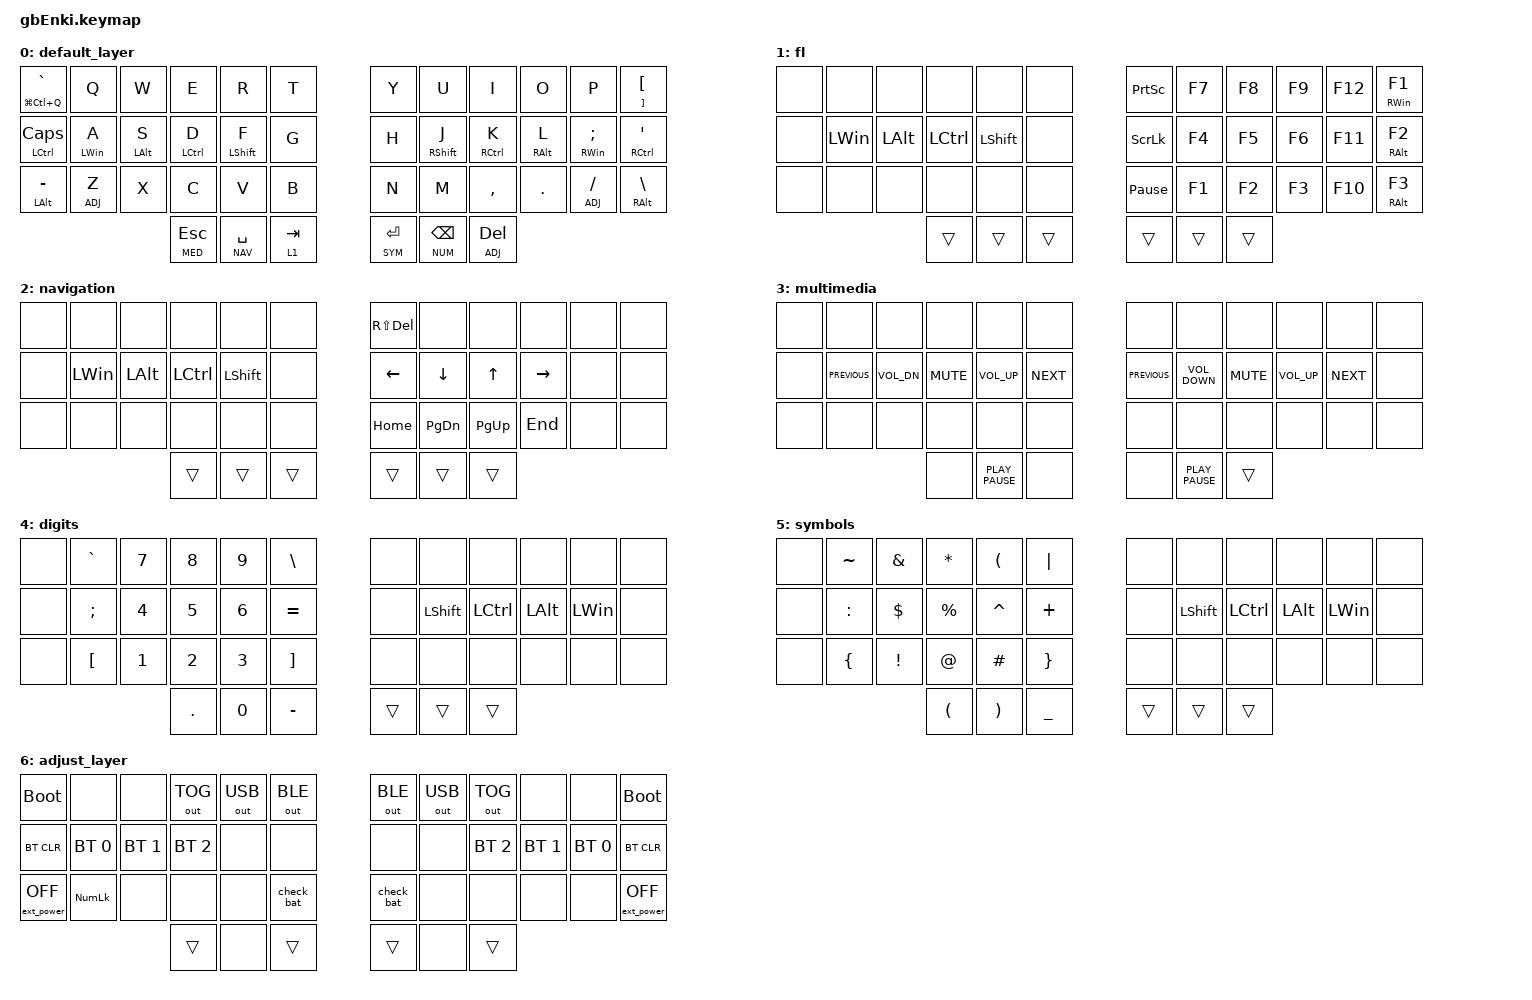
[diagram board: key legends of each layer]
/*
 * Copyright (c) 2020 The ZMK Contributors
 *
 * SPDX-License-Identifier: MIT
 */

#include <behaviors.dtsi>
#include <dt-bindings/zmk/bt.h>
#include <dt-bindings/zmk/ext_power.h>
#include <dt-bindings/zmk/keys.h>
#include <dt-bindings/zmk/outputs.h>

#define DEF 0
#define FL   1
#define NAV 2
#define MED 3
#define NUM 4
#define SYM 5
#define ADJ 6

&lt { quick_tap_ms = <220>; };

&mt {
    quick_tap_ms = <200>;
    tapping-term-ms = <300>;
    flavor = "tap-preferred";
};

/ {
    macros {
        numdot: numdot {
            label = "ZM_numdot";
            compatible = "zmk,behavior-macro";
            #binding-cells = <0>;
            wait-ms = <40>;
            tap-ms = <40>;
            bindings =
                <&macro_press>,
                <&kp LALT>,
                <&macro_tap>,
                <&kp KP_N4 &kp KP_N6>,
                <&macro_release>,
                <&kp LALT>;
        };

        grtsgn: grtsgn {
            label = "ZM_grtsgn";
            compatible = "zmk,behavior-macro";
            #binding-cells = <0>;
            wait-ms = <40>;
            tap-ms = <40>;
            bindings =
                <&macro_press>,
                <&kp LALT>,
                <&macro_tap>,
                <&kp KP_N6 &kp KP_N2>,
                <&macro_release>,
                <&kp LALT>;
        };
    };
};

/ {
    keymap {
        compatible = "zmk,keymap";

        default_layer {
            // ------------------------------------------------------------------------------------------------
            //| LGUI/] |  Q  |  W  |  E  |  R  |  T  |   |  Y  |  U   |  I  |  O  |  P  | RGUI/[ |
            //| CTRL/` |  A  |  S  |  D  |  F  |  G  |   |  H  |  J   |  K  |  L  |  ;  | CTRL/' |
            //| LALT/\ |  Z  |  X  |  C  |  V  |  B  |   |  N  |  M   |  ,  |  .  |  /  | RALT/- |
            //                             | MED | NAV | F |   | SYM | NUM | ADJ |

            bindings = <
&mt LG(LC(Q)) GRAVE  &kp Q       &kp W           &kp E        &kp R             &kp T        &kp Y          &kp U              &kp I                &kp O            &kp P               &mt RIGHT_BRACKET LBKT
&mt LCTRL CAPSLOCK   &mt LWIN A  &mt LEFT_ALT S  &mt LCTRL D  &mt LEFT_SHIFT F  &kp G        &kp H          &mt RIGHT_SHIFT J  &mt RIGHT_CONTROL K  &mt RIGHT_ALT L  &mt RWIN SEMICOLON  &mt RCTRL SQT
&mt LALT MINUS       &lt ADJ Z   &kp X           &kp C        &kp V             &kp B        &kp N          &kp M              &kp COMMA            &kp DOT          &lt ADJ SLASH       &mt RALT BACKSLASH
                                                 &lt MED ESC  &lt NAV SPACE     &lt 1 TAB    &lt SYM ENTER  &lt NUM BACKSPACE  &lt ADJ DELETE
            >;
        };

        fl {
            bindings = <
&none  &none     &none         &none      &none           &none     &kp PRINTSCREEN  &kp F7  &kp F8  &kp F9  &kp F12  &mt RWIN F1
&none  &kp LWIN  &kp LEFT_ALT  &kp LCTRL  &kp LEFT_SHIFT  &none     &kp SCROLLLOCK   &kp F4  &kp F5  &kp F6  &kp F11  &mt RALT F2
&none  &none     &none         &none      &none           &none     &kp PAUSE_BREAK  &kp F1  &kp F2  &kp F3  &kp F10  &mt RALT F3
                               &trans     &trans          &trans    &trans           &trans  &trans
            >;
        };

        navigation {
            bindings = <
&none  &none     &none         &none      &none           &none     &kp RS(DEL)  &none          &none         &none      &none  &none
&none  &kp LWIN  &kp LEFT_ALT  &kp LCTRL  &kp LEFT_SHIFT  &none     &kp LEFT     &kp DOWN       &kp UP_ARROW  &kp RIGHT  &none  &none
&none  &none     &none         &none      &none           &none     &kp HOME     &kp PAGE_DOWN  &kp PAGE_UP   &kp END    &none  &none
                               &trans     &trans          &trans    &trans       &trans         &trans
            >;
        };

        multimedia {
            bindings = <
&none  &none           &none         &none       &none             &none         &none           &none              &none       &none            &none       &none
&none  &kp K_PREVIOUS  &kp K_VOL_DN  &kp K_MUTE  &kp K_VOLUME_UP   &kp K_NEXT    &kp K_PREVIOUS  &kp K_VOLUME_DOWN  &kp K_MUTE  &kp K_VOLUME_UP  &kp K_NEXT  &none
&none  &none           &none         &none       &none             &none         &none           &none              &none       &none            &none       &none
                                     &none       &kp K_PLAY_PAUSE  &none         &none           &kp K_PLAY_PAUSE   &trans
            >;
        };

        digits {
            bindings = <
&none  &kp GRAVE  &kp N7  &kp N8   &kp N9  &kp BSLH     &none   &none      &none      &none     &none     &none
&none  &kp SEMI   &kp N4  &kp N5   &kp N6  &kp EQUAL    &none   &kp LSHFT  &kp LCTRL  &kp LALT  &kp LWIN  &none
&none  &kp LBKT   &kp N1  &kp N2   &kp N3  &kp RBKT     &none   &none      &none      &none     &none     &none
                          &kp DOT  &kp N0  &kp MINUS    &trans  &trans     &trans
            >;
        };

        symbols {
            bindings = <
&none  &kp TILDE       &kp AMPERSAND    &kp ASTERISK          &kp LEFT_PARENTHESIS   &kp PIPE           &none   &none      &none      &none     &none     &none
&none  &kp COLON       &kp DOLLAR       &kp PERCENT           &kp CARET              &kp PLUS           &none   &kp LSHFT  &kp LCTRL  &kp LALT  &kp LWIN  &none
&none  &kp LEFT_BRACE  &kp EXCLAMATION  &kp AT_SIGN           &kp HASH               &kp RIGHT_BRACE    &none   &none      &none      &none     &none     &none
                                        &kp LEFT_PARENTHESIS  &kp RIGHT_PARENTHESIS  &kp UNDERSCORE     &trans  &trans     &trans
            >;
        };

        adjust_layer {
            // -----------------------------------------------------------------------------------------
            //| BLDR |     |     |     |     |     |   | BLE | USB | TOG |     |     | BLDR |
            //| BTCLR| BT0 | BT1 | BT2 |     |     |   |     |     | BT2 | BT1 | BT0 | BTCLR|
            //|pwrOFF|NUMLK|     |     |     | BAT |   |     |     |     |     |     |pwrOFF|
            //                   |     |     |     |   |     |     |     |

            bindings = <
&bootloader        &none         &none         &out OUT_TOG  &out OUT_USB  &out OUT_BLE    &out OUT_BLE  &out OUT_USB  &out OUT_TOG  &none         &none         &bootloader
&bt BT_CLR         &bt BT_SEL 0  &bt BT_SEL 1  &bt BT_SEL 2  &none         &none           &none         &none         &bt BT_SEL 2  &bt BT_SEL 1  &bt BT_SEL 0  &bt BT_CLR
&ext_power EP_OFF  &kp KP_NUM    &none         &none         &none         &check_bat      &check_bat    &none         &none         &none         &none         &ext_power EP_OFF
                                               &trans        &none         &trans          &trans        &none         &trans
            >;
        };
    };
};
